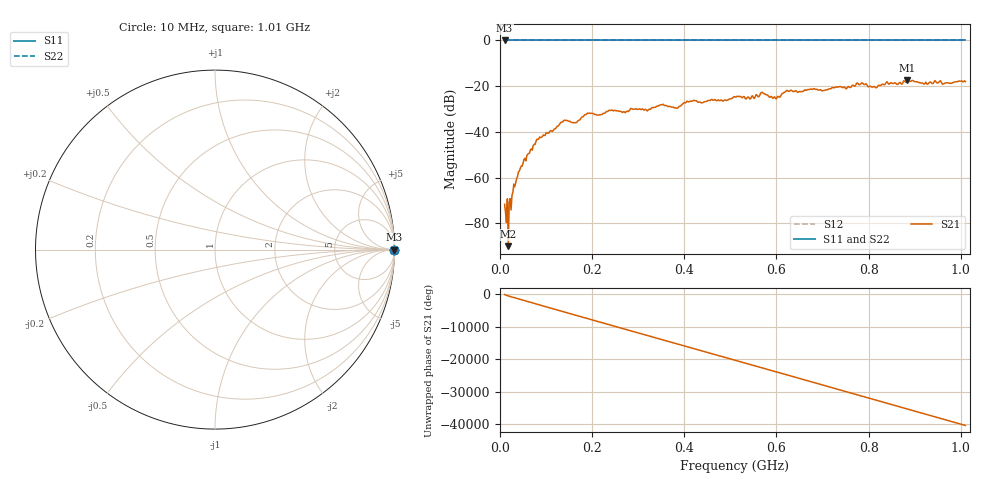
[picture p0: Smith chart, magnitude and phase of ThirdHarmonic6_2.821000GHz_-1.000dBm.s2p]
! 8/17/2025 7:28:06 AM
! C:\ANRITSUVNA\TEMP\TEMP.S2P
! CHANNEL.1
! TR.MEASUREMENT
! RAW.DATA
! RF.CORRECTION.OFF
! AVERAGING.OFF
! IF.BANDWIDTH: 5KHZ
! SWEEPTYPE:  FREQ.SWEEP(Linear)
! Reference Plane Port Info
! PORT:  PORT1  PORT2
! DISTANCE:  0  m  0  m
! TIME:  0  s  0  s
! PHASE.OFFSET:  0  deg.  0  deg.
! LOSS:  0  dB  0  dB
! REF.LOSS:  0  dB  0  dB
! REF.FREQ:  0  Hz  0  Hz
! Power Info
! POWER:  -20  dBm  -20  dBm
! EFF.POWER:  -20  dBm  -20  dBm
! SOURCE.ATTEN:  0  dB  0  dB
! TEST.ATTEN:  0  dB  0  dB
# GHZ S RI R 50.0
! FREQ.GHZ  S11RE  S11IM  S21RE  S21IM  S12RE  S12IM  S22RE  S22IM
!; PortSelection: Port_12
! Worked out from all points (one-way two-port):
!   501 points, 10 MHz to 1.01 GHz, reference 50 ohm
!   highest |S21| = -17.29 dB at 884 MHz (marker M1); lowest = -89.9 dB at 18 MHz (marker M2)
!   lowest |S11| = 0.0 dB at 10 MHz (marker M3)
!   |S11| at or under -10 dB: nowhere
!   |S22| runs from 0.0 to 0.0 dB; largest |S21 - S12| = 1.1
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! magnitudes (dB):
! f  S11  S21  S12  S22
! 10 MHz  0.0  -71.6  0.0  0.0
! 18 MHz  0.0  -89.9  0.0  0.0
! 22 MHz  0.0  -69.1  0.0  0.0
! 30 MHz  0.0  -62.8  0.0  0.0
! 42 MHz  0.0  -57.1  0.0  0.0
! 82 MHz  0.0  -43.3  0.0  0.0
! 136 MHz  0.0  -35.7  0.0  0.0
! 162 MHz  0.0  -36.0  0.0  0.0
! 178 MHz  0.0  -33.5  0.0  0.0
! 194 MHz  0.0  -31.8  0.0  0.0
! 322 MHz  0.0  -30.2  0.0  0.0
! 344 MHz  0.0  -28.6  0.0  0.0
! 382 MHz  0.0  -29.5  0.0  0.0
! 410 MHz  0.0  -26.9  0.0  0.0
! 510 MHz  0.0  -24.7  0.0  0.0
! 570 MHz  0.0  -22.8  0.0  0.0
! 596 MHz  0.0  -24.7  0.0  0.0
! 622 MHz  0.0  -21.8  0.0  0.0
! 678 MHz  0.0  -21.4  0.0  0.0
! 844 MHz  0.0  -19.1  0.0  0.0
! 884 MHz  0.0  -17.3  0.0  0.0
! 1.01 GHz  0.0  -18.0  0.0  0.0
